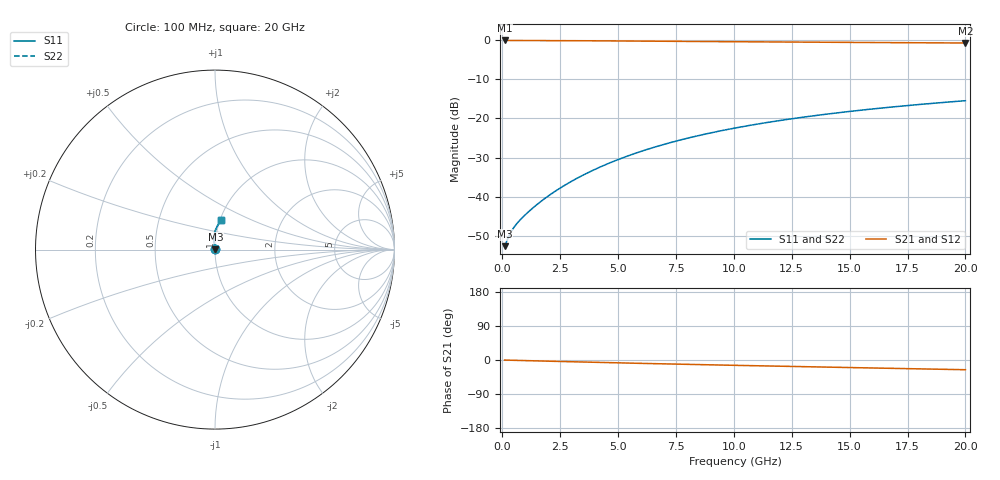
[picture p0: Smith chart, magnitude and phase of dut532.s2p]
! Touchstone file exported from HFSS 2024.1.0
!  File:  C:/UserFiles/LocalFiles/RDL_TSV_Batchsim/temp_RDL_top_532_1779680240.aedt
!  Generated:  11:39:15 AM May 25, 2026
!  Design:  RDL_top
!  Project:  temp_RDL_top_532_1779680240
!  Setup:  Setup1
!  Solution:  Sweep
! Variables:
!  dtsv = 10.80580581um
!  hbump = 3um
!  htsv = 62.21um
!  ldown = 100um
!  lrdl = 419.77um
!  p = 40
!  p1 = 40.53um
!  rhole = 1um
!  t = 450um
!  tdown = 3.915915916um
!  trdl = 2.79um
!  wdown = 15.38538539um
!  wrdl = 28.64um
# GHz S MA R 50.000000
! Terminal data exported
! Port[1] = Box2_T1
! Port[2] = Box2_T2
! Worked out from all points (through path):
!   200 points, 100 MHz to 20 GHz, reference 50 ohm
!   highest |S21| = -0.02 dB at 100 MHz (marker M1); lowest = -0.7 dB at 20 GHz (marker M2)
!   group delay of S21, straight-line fit = 3.5 ps
!   lowest |S11| = -52.7 dB at 100 MHz (marker M3), VSWR 1.00, Z = 50.2 + j0.0741 ohm
!   |S11| at or under -10 dB: start of sweep to end of sweep
!   |S22| runs from -52.7 to -15.5 dB; largest |S21 - S12| = 2e-15
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0.1  0.002314 18.6  0.9978 -0.2  0.9978 -0.2  0.002314 18.6
! Gamma 0 0 0 0
! Port Impedance 50 0 50 0
0.3  0.003187 38.4  0.9974 -0.5  0.9974 -0.5  0.003187 38.4
0.4  0.003622 43.3  0.9972 -0.7  0.9972 -0.7  0.003622 43.3
0.5  0.004022 47.2  0.997 -0.8  0.997 -0.8  0.004022 47.2
0.7  0.004764 53.7  0.9966 -1.1  0.9966 -1.1  0.004764 53.7
1.1  0.006255 64.4  0.996 -1.7  0.996 -1.7  0.006255 64.4
1.6  0.008351 74.3  0.9951 -2.5  0.9951 -2.5  0.008351 74.3
2.2  0.01125 82.5  0.9937 -3.4  0.9937 -3.4  0.01125 82.5
2.8  0.01455 88.1  0.9919 -4.3  0.9919 -4.3  0.01454 88.1
3.5  0.01888 92.5  0.9896 -5.4  0.9896 -5.4  0.01887 92.4
4.2  0.0237 95.2  0.9869 -6.4  0.9869 -6.4  0.02369 95.2
5  0.02974 97.0  0.9835 -7.5  0.9835 -7.5  0.02972 96.9
5.9  0.03709 97.8  0.9795 -8.8  0.9795 -8.8  0.03706 97.7
6.8  0.04492 97.7  0.9754 -10.0  0.9754 -10.0  0.04488 97.7
7.6  0.05218 97.2  0.9718 -11.0  0.9718 -11.0  0.05213 97.2
8.4  0.05963 96.4  0.9682 -12.0  0.9682 -12.0  0.05957 96.4
10.1  0.07588 94.1  0.9609 -14.1  0.9609 -14.1  0.0758 94.0
11.7  0.09137 91.5  0.9544 -16.1  0.9544 -16.1  0.09127 91.5
13.4  0.1078 88.7  0.9479 -18.1  0.9479 -18.1  0.1077 88.6
15  0.123 86.0  0.9422 -19.9  0.9422 -19.9  0.1229 86.0
16.7  0.139 83.2  0.9364 -21.9  0.9364 -21.9  0.1388 83.2
20  0.1689 78.0  0.9257 -25.6  0.9257 -25.6  0.1687 78.0
